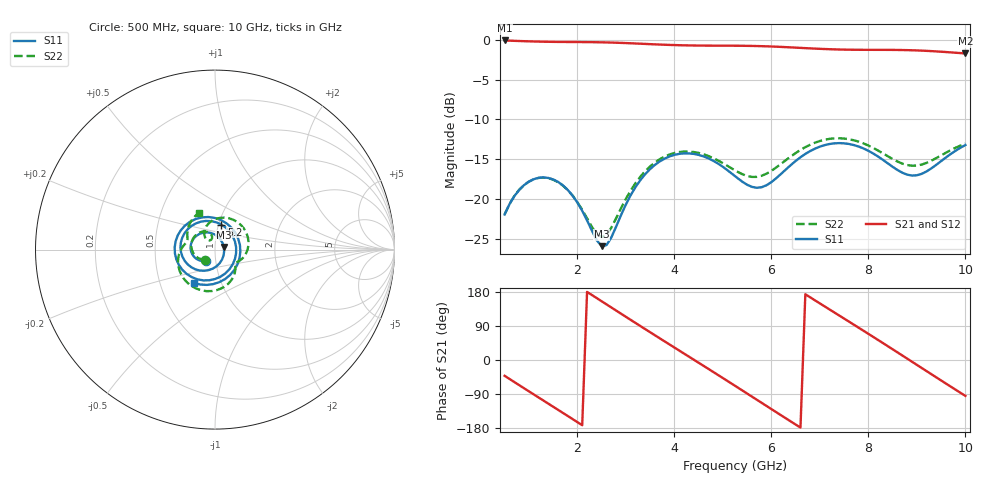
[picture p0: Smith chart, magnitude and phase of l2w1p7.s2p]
! Touchstone file exported from HFSS 3D Layout Design 2026.1.0
!  File:  D:/Work/ADS/HFSS_VERDICT/hfss_sma_connector_cpw.aedt
!  Generated:  02:14:25 PM Aug  6, 2026
!  Design:  SINGLE_END_SMA_CPW_30MM
!  Project:  hfss_sma_connector_cpw
! Variables:
!  $sma_Base_D = 6.25mm
!  $sma_Base_L = 8mm
!  $sma_Feet_L = 4mm
!  $sma_Feet_W = 1mm
!  $sma_Front_L = 1.5mm
!  $sma_Front_W = 6.5mm
!  $sma_Hole_D = 1.25mm
!  $sma_PTFE_D = 4.2mm
!  $sma_Pin_D = 0.95mm
!  $sma_Pin_P = 1.7mm
# GHz S MA R 50.000000
! Terminal data exported
! Port[1] = Port1
! Port[2] = S1_1_Pin_T1
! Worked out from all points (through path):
!   96 points, 500 MHz to 10 GHz, reference 50 ohm
!   highest |S21| = -0.12 dB at 500 MHz (marker M1); lowest = -1.7 dB at 10 GHz (marker M2)
!   group delay of S21, straight-line fit = 226 ps
!   lowest |S11| = -25.8 dB at 2.5 GHz (marker M3), VSWR 1.11, Z = 55.1 + j1.56 ohm
!   |S11| at or under -10 dB: start of sweep to end of sweep
!   |S22| runs from -24.7 to -12.3 dB; largest |S21 - S12| = 1.9e-14
!   S11 on the Smith chart (normalised r, x): 500 MHz: 0.90, -0.11; 5.2 GHz: 1.03, +0.29; 10 GHz: 0.75, -0.29
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0.5  0.08046 -129.3  0.9868 -41.7  0.9868 -41.7  0.08072 -135.9
0.9  0.1229 -160.4  0.9765 -74.5  0.9765 -74.5  0.123 -171.3
1.3  0.1374 168.1  0.9692 -107.0  0.9692 -107.0  0.137 155.3
1.7  0.1226 134.2  0.9657 -139.5  0.9657 -139.5  0.1223 125.1
2.1  0.08492 92.0  0.9641 -172.1  0.9641 -172.1  0.08616 104.2
2.5  0.05104 16.0  0.9606 155.1  0.9606 155.1  0.05817 114.7
3.1  0.1064 -96.3  0.9475 105.8  0.9475 105.8  0.1138 121.8
3.7  0.173 -151.6  0.9302 57.1  0.9302 57.1  0.1786 81.4
4.4  0.1927 152.0  0.9177 0.8  0.9177 0.8  0.198 27.9
4.8  0.1746 117.2  0.9157 -31.4  0.9157 -31.4  0.1815 0.2
5.2  0.1438 75.5  0.9149 -63.9  0.9149 -63.9  0.1552 -21.2
5.3  0.1361 63.3  0.9145 -72.1  0.9145 -72.1  0.1491 -25.0
5.7  0.1183 5.9  0.9105 -104.9  0.9105 -104.9  0.1384 -34.5
6.2  0.1445 -66.5  0.8993 -145.9  0.8993 -145.9  0.167 -48.1
6.9  0.2079 -139.3  0.8775 157.4  0.8775 157.4  0.2265 -88.1
7.3  0.2243 -174.5  0.868 125.3  0.868 125.3  0.241 -115.5
7.7  0.2189 150.4  0.8631 93.2  0.8631 93.2  0.2345 -142.7
8.1  0.1938 112.2  0.862 60.9  0.862 60.9  0.21 -167.3
8.5  0.16 66.6  0.8612 28.3  0.8612 28.3  0.179 174.1
9.2  0.1497 -33.4  0.8495 -29.4  0.8495 -29.4  0.1694 155.4
9.6  0.1831 -82.5  0.8352 -62.2  0.8352 -62.2  0.1961 138.4
10  0.2189 -121.6  0.8183 -94.7  0.8183 -94.7  0.2232 113.4
